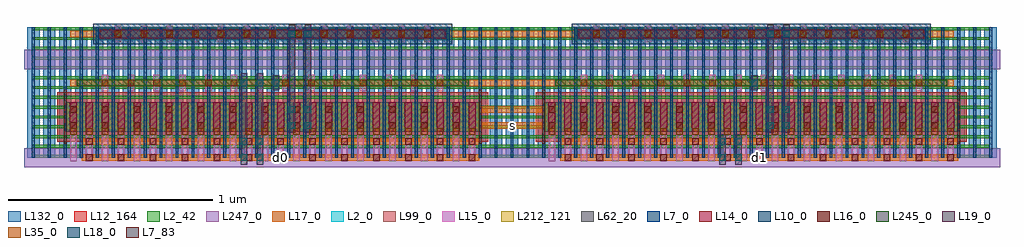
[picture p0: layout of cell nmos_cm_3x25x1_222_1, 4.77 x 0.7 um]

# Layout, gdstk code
import gdstk
lib = gdstk.Library(unit=1e-6, precision=1e-12)
def R(c, l, rs):  # rectangles x0, y0, x1, y1
    for r in rs: c.add(gdstk.rectangle(r[:2], r[2:], *l))
def A(c, l, x, y, w, h, nx, ny, dx, dy):  # array of equal rectangles
    R(c, l, [(x+i*dx, y+j*dy, x+i*dx+w, y+j*dy+h) for i in range(nx) for j in range(ny)])
L2_0 = (2, 0)
L2_42 = (2, 42)
L7_0 = (7, 0)
L7_83 = (7, 83)
L10_0 = (10, 0)
L12_164 = (12, 164)
L14_0 = (14, 0)
L15_0 = (15, 0)
L16_0 = (16, 0)
L17_0 = (17, 0)
L18_0 = (18, 0)
L19_0 = (19, 0)
L35_0 = (35, 0)
L62_20 = (62, 20)
L99_0 = (99, 0)
L132_0 = (132, 0)
L212_121 = (212, 121)
L245_0 = (245, 0)
L247_0 = (247, 0)

nmos_cm_3x25x1_222_1 = lib.new_cell('nmos_cm_3x25x1_222_1')
R(nmos_cm_3x25x1_222_1, L2_0, [(0.186,0.127,2.214,0.271), (2.526,0.127,4.554,0.271), (0.3425,0.575,2.0575,0.635), (2.6825,0.575,4.3975,0.635)])
A(nmos_cm_3x25x1_222_1, L2_42, 0.023, 0, 4.68, 0.014, 1, 14, 0, 0.048)
A(nmos_cm_3x25x1_222_1, L7_0, 0.023, 0, 0.014, 0.638, 61, 1, 0.078, 0)
R(nmos_cm_3x25x1_222_1, L7_83, [(0.179,0.067,0.193,0.331), (2.207,0.067,2.221,0.331), (2.519,0.067,2.533,0.331), (4.547,0.067,4.561,0.331)])
R(nmos_cm_3x25x1_222_1, L10_0, [(0.3225,0.555,2.0775,0.655), (2.6625,0.555,4.4175,0.655)])
R(nmos_cm_3x25x1_222_1, L12_164, [(0.147,0.079,2.253,0.319), (2.487,0.079,4.593,0.319)])
A(nmos_cm_3x25x1_222_1, L14_0, 0.208, 0.127, 0.034, 0.144, 26, 1, 0.078, 0)
A(nmos_cm_3x25x1_222_1, L14_0, 2.548, 0.127, 0.034, 0.144, 26, 1, 0.078, 0)
R(nmos_cm_3x25x1_222_1, L14_0, [(0.3575,0.585,2.0425,0.625), (2.6975,0.585,4.3825,0.625)])
A(nmos_cm_3x25x1_222_1, L15_0, 0.209, -0.017, 0.032, 0.288, 26, 1, 0.078, 0)
A(nmos_cm_3x25x1_222_1, L15_0, 2.549, -0.017, 0.032, 0.288, 26, 1, 0.078, 0)
A(nmos_cm_3x25x1_222_1, L15_0, 0.287, 0.109, 0.032, 0.019, 13, 1, 0.156, 0)
A(nmos_cm_3x25x1_222_1, L15_0, 2.627, 0.109, 0.032, 0.019, 13, 1, 0.156, 0)
A(nmos_cm_3x25x1_222_1, L15_0, 0.365, 0.326, 0.032, 0.08, 14, 1, 0.126, 0)
A(nmos_cm_3x25x1_222_1, L15_0, 2.705, 0.326, 0.032, 0.08, 14, 1, 0.126, 0)
A(nmos_cm_3x25x1_222_1, L15_0, 0.428, 0.565, 0.032, 0.08, 13, 1, 0.126, 0)
A(nmos_cm_3x25x1_222_1, L15_0, 2.768, 0.565, 0.032, 0.08, 13, 1, 0.126, 0)
A(nmos_cm_3x25x1_222_1, L16_0, 0.287, -0.015, 0.032, 0.032, 13, 2, 0.156, 0.078)
A(nmos_cm_3x25x1_222_1, L16_0, 2.627, -0.015, 0.032, 0.032, 13, 2, 0.156, 0.078)
A(nmos_cm_3x25x1_222_1, L16_0, 0.209, 0.141, 0.032, 0.032, 13, 2, 0.156, 0.078)
A(nmos_cm_3x25x1_222_1, L16_0, 2.549, 0.141, 0.032, 0.032, 13, 2, 0.156, 0.078)
A(nmos_cm_3x25x1_222_1, L16_0, 0.365, 0.35, 0.032, 0.032, 14, 1, 0.126, 0)
A(nmos_cm_3x25x1_222_1, L16_0, 2.705, 0.35, 0.032, 0.032, 14, 1, 0.126, 0)
A(nmos_cm_3x25x1_222_1, L16_0, 0.428, 0.589, 0.032, 0.032, 13, 1, 0.126, 0)
A(nmos_cm_3x25x1_222_1, L16_0, 2.768, 0.589, 0.032, 0.032, 13, 1, 0.126, 0)
R(nmos_cm_3x25x1_222_1, L17_0, [(0.267,-0.015,2.211,0.017), (2.607,-0.015,4.551,0.017), (0.267,0.063,2.211,0.095), (2.607,0.063,4.551,0.095), (0.186,0.141,2.214,0.173), (2.204,0.141,2.536,0.173), (2.526,0.141,4.554,0.173), (0.186,0.219,2.214,0.251), (2.204,0.219,2.536,0.251), (2.526,0.219,4.554,0.251), (0.209,0.35,2.191,0.382), (2.181,0.35,2.559,0.382), (2.549,0.35,4.531,0.382), (0.209,0.589,2.191,0.621), (2.181,0.589,2.559,0.621), (2.549,0.589,4.531,0.621)])
A(nmos_cm_3x25x1_222_1, L18_0, 1.044, 0.35, 0.032, 0.032, 3, 1, 0.078, 0)
R(nmos_cm_3x25x1_222_1, L18_0, [(1.044,-0.015,1.076,0.017), (1.122,-0.015,1.154,0.017), (3.384,-0.015,3.416,0.017), (3.462,-0.015,3.494,0.017), (1.044,0.063,1.076,0.095), (1.122,0.063,1.154,0.095), (3.384,0.063,3.416,0.095), (3.462,0.063,3.494,0.095), (1.278,0.141,1.31,0.173), (1.356,0.141,1.388,0.173), (3.618,0.141,3.65,0.173), (3.696,0.141,3.728,0.173), (1.278,0.219,1.31,0.251), (1.356,0.219,1.388,0.251), (3.618,0.219,3.65,0.251), (3.696,0.219,3.728,0.251), (3.54,0.35,3.572,0.382), (1.278,0.589,1.31,0.621), (1.356,0.589,1.388,0.621), (3.618,0.589,3.65,0.621), (3.696,0.589,3.728,0.621)])
R(nmos_cm_3x25x1_222_1, L19_0, [(1.044,-0.035,1.076,0.115), (1.122,-0.035,1.154,0.115), (3.384,-0.035,3.416,0.115), (3.462,-0.035,3.494,0.115), (1.044,0.105,1.076,0.412), (1.122,0.105,1.154,0.412), (1.278,0.121,1.31,0.271), (1.356,0.121,1.388,0.271), (3.618,0.121,3.65,0.271), (3.696,0.121,3.728,0.271), (1.278,0.261,1.31,0.651), (1.356,0.261,1.388,0.651), (3.618,0.261,3.65,0.651), (3.696,0.261,3.728,0.651), (1.2,0.33,1.232,0.402), (3.54,0.33,3.572,0.402)])
A(nmos_cm_3x25x1_222_1, L35_0, 0.209, 0.111, 0.032, 0.032, 26, 1, 0.078, 0)
A(nmos_cm_3x25x1_222_1, L35_0, 2.549, 0.111, 0.032, 0.032, 26, 1, 0.078, 0)
A(nmos_cm_3x25x1_222_1, L35_0, 0.365, 0.35, 0.032, 0.032, 14, 1, 0.126, 0)
A(nmos_cm_3x25x1_222_1, L35_0, 2.705, 0.35, 0.032, 0.032, 14, 1, 0.126, 0)
A(nmos_cm_3x25x1_222_1, L35_0, 0.428, 0.589, 0.032, 0.032, 13, 1, 0.126, 0)
A(nmos_cm_3x25x1_222_1, L35_0, 2.768, 0.589, 0.032, 0.032, 13, 1, 0.126, 0)
R(nmos_cm_3x25x1_222_1, L62_20, [(0.186,0.127,2.214,0.271), (2.526,0.127,4.554,0.271)])
R(nmos_cm_3x25x1_222_1, L99_0, [(0.186,0.127,2.214,0.271), (2.526,0.127,4.554,0.271), (0.3525,0.58,2.0475,0.63), (2.6925,0.58,4.3875,0.63)])
A(nmos_cm_3x25x1_222_1, L132_0, 0, 0, 0.06, 0.638, 61, 1, 0.078, 0)
R(nmos_cm_3x25x1_222_1, L212_121, [(0.186,0.127,2.214,0.271), (2.526,0.127,4.554,0.271)])
R(nmos_cm_3x25x1_222_1, L245_0, [(0.241,0.351,2.159,0.381), (2.581,0.351,4.499,0.381)])
R(nmos_cm_3x25x1_222_1, L247_0, [(-0.016,-0.047,2.416,0.047), (2.324,-0.047,4.756,0.047), (-0.016,0.433,2.416,0.527), (2.324,0.433,4.756,0.527)])
nmos_cm_3x25x1_222_1.add(gdstk.Label('s', (2.37,0.157), layer=16, texttype=20))
nmos_cm_3x25x1_222_1.add(gdstk.Label('d1', (3.579,0.001), layer=16, texttype=20))
nmos_cm_3x25x1_222_1.add(gdstk.Label('d0', (1.239,0.001), layer=16, texttype=20))

lib.write_gds('nmos_cm_3x25x1_222_1.gds')
